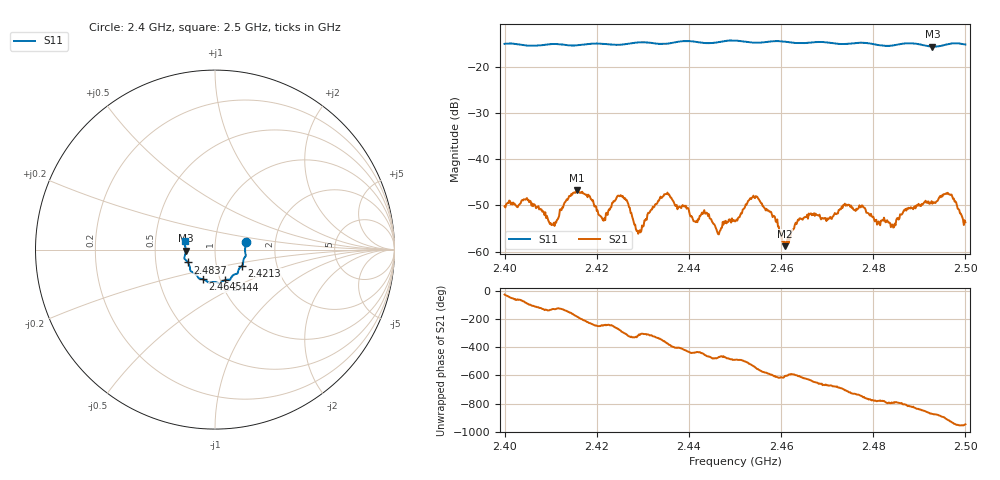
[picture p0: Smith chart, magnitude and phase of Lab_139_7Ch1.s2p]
# Hz S RI R 50
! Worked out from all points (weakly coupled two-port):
!   601 points, 2.4 GHz to 2.5 GHz, reference 50 ohm
!   highest |S21| = -46.71 dB at 2.4157 GHz (marker M1); lowest = -58.8 dB at 2.4608 GHz (marker M2)
!   lowest |S11| = -15.7 dB at 2.4928 GHz (marker M3), VSWR 1.39, Z = 35.9 - j0.384 ohm
!   |S11| at or under -10 dB: start of sweep to end of sweep
!   S12 and S22 are empty: the file has one direction only
!   S11 on the Smith chart (normalised r, x): 2.4 GHz: 1.41, +0.12; 2.4213 GHz: 1.33, -0.25; 2.444 GHz: 1.06, -0.37; 2.4645 GHz: 0.83, -0.29; 2.4837 GHz: 0.73, -0.11; 2.5 GHz: 0.71, +0.07
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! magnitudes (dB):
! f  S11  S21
! 2.4 GHz  -15.1  -50.2
! 2.4052 GHz  -15.5  -48.8
! 2.4103 GHz  -15.1  -54.2
! 2.4157 GHz  -15.4  -46.7
! 2.4167 GHz  -15.3  -47.3
! 2.4213 GHz  -15.1  -53.2
! 2.4252 GHz  -15.3  -47.8
! 2.4292 GHz  -14.8  -55.6
! 2.4333 GHz  -15.1  -49.0
! 2.444 GHz  -15.0  -51.7
! 2.4463 GHz  -14.8  -56.2
! 2.45 GHz  -14.4  -53.5
! 2.4545 GHz  -14.9  -48.0
! 2.4608 GHz  -14.6  -58.8
! 2.4645 GHz  -15.0  -52.9
! 2.4667 GHz  -14.8  -52.1
! 2.4743 GHz  -15.1  -50.0
! 2.4833 GHz  -15.6  -53.7
! 2.4837 GHz  -15.5  -53.8
! 2.4928 GHz  -15.7  -49.6
! 2.4967 GHz  -15.1  -47.6
! 2.5 GHz  -15.2  -53.6
